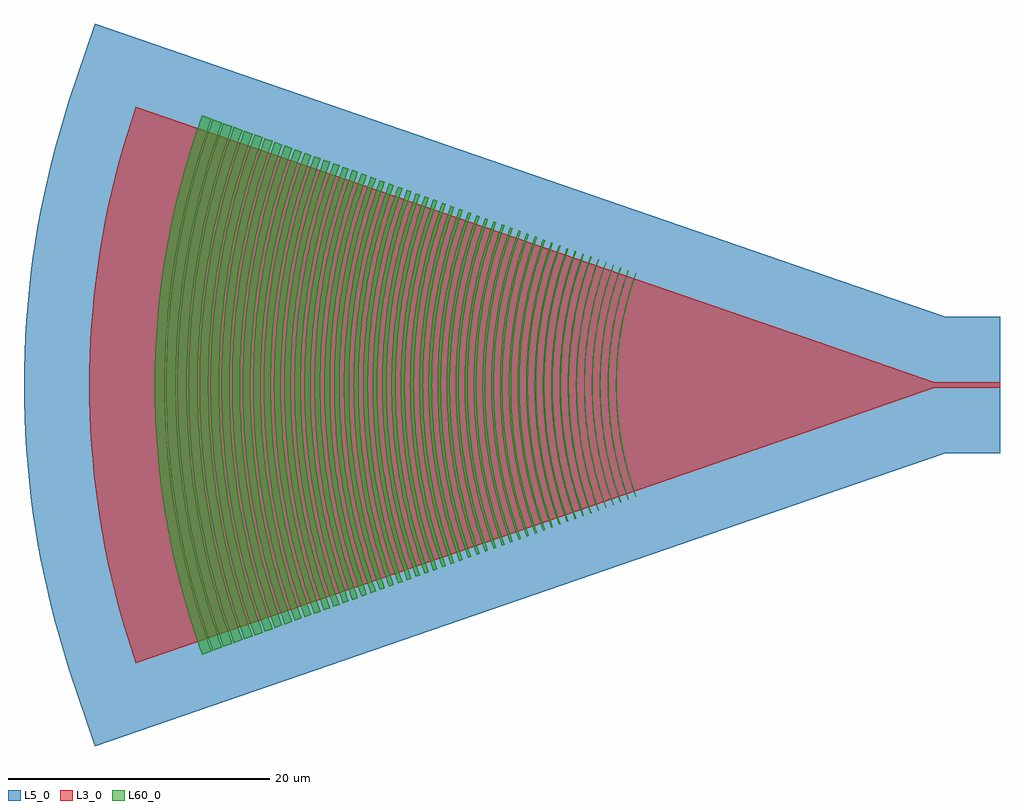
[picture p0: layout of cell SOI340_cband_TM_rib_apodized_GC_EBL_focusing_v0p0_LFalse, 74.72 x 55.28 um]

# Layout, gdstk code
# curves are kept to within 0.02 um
import gdstk
lib = gdstk.Library(unit=1e-6, precision=1e-09)
def P(c, l, *ps):  # polygons
    for p in ps: c.add(gdstk.Polygon(p, *l))
L3_0 = (3, 0)
L5_0 = (5, 0)
L60_0 = (60, 0)

soi340_cband_tm_rib_apod = lib.new_cell('SOI340_cband_TM_rib_apodized_GC_EBL_focusing_v0p0_LFalse')
P(soi340_cband_tm_rib_apod, L3_0, [(-66.159,-21.284),(-67.189,-18.02),(-67.779,-15.815),(-68.292,-13.592),(-68.728,-11.352),(-69.234,-7.967),(-69.472,-5.698),(-69.562,-4.56),(-69.681,-2.282),(-69.721,0),(-69.681,2.282),(-69.562,4.56),(-69.472,5.698),(-69.234,7.967),(-68.728,11.352),(-68.292,13.592),(-67.779,15.815),(-67.189,18.02),(-66.159,21.284),(-5,0.225),(0,0.225),(0,-0.225),(-5,-0.225)])
P(soi340_cband_tm_rib_apod, L5_0, [(-69.259,-27.639),(-69.314,-27.612),(-71.277,-21.747),(-71.996,-19.398),(-72.631,-17.025),(-73.183,-14.633),(-73.428,-13.429),(-73.855,-11.009),(-74.197,-8.576),(-74.336,-7.355),(-74.55,-4.908),(-74.624,-3.682),(-74.678,-2.457),(-74.721,0),(-74.678,2.457),(-74.624,3.682),(-74.55,4.908),(-74.336,7.355),(-74.197,8.576),(-73.855,11.009),(-73.428,13.429),(-73.183,14.633),(-72.631,17.025),(-71.996,19.398),(-71.277,21.747),(-69.314,27.612),(-69.259,27.639),(-4.163,5.225),(0,5.225),(0,-5.225),(-4.163,-5.225)])
P(soi340_cband_tm_rib_apod, L60_0, [(-27.895,-8.571),(-28.042,-8.159),(-28.247,-7.536),(-28.437,-6.908),(-28.553,-6.486),(-28.813,-5.424),(-28.947,-4.781),(-29.026,-4.351),(-29.131,-3.704),(-29.221,-3.054),(-29.312,-2.184),(-29.383,-1.093),(-29.407,0),(-29.383,1.093),(-29.312,2.184),(-29.221,3.054),(-29.131,3.704),(-29.026,4.351),(-28.947,4.781),(-28.813,5.424),(-28.553,6.486),(-28.437,6.908),(-28.247,7.536),(-28.042,8.159),(-27.895,8.571),(-27.839,8.551),(-28.055,7.933),(-28.255,7.309),(-28.438,6.681),(-28.604,6.048),(-28.801,5.198),(-29.004,4.126),(-29.161,3.047),(-29.252,2.179),(-29.323,1.09),(-29.347,0),(-29.323,-1.09),(-29.252,-2.179),(-29.161,-3.047),(-29.004,-4.126),(-28.801,-5.198),(-28.604,-6.048),(-28.438,-6.681),(-28.255,-7.309),(-28.055,-7.933),(-27.839,-8.551)],
  [(-28.48,-8.783),(-28.701,-8.149),(-28.839,-7.722),(-28.971,-7.294),(-29.153,-6.647),(-29.42,-5.558),(-29.513,-5.12),(-29.638,-4.459),(-29.746,-3.796),(-29.808,-3.352),(-29.888,-2.684),(-29.931,-2.238),(-30.004,-1.121),(-30.028,0),(-30.004,1.121),(-29.931,2.238),(-29.888,2.684),(-29.808,3.352),(-29.746,3.796),(-29.638,4.459),(-29.513,5.12),(-29.42,5.558),(-29.153,6.647),(-28.971,7.294),(-28.839,7.722),(-28.701,8.149),(-28.48,8.783),(-28.423,8.763),(-28.644,8.13),(-28.848,7.491),(-29.036,6.847),(-29.207,6.198),(-29.454,5.108),(-29.617,4.229),(-29.749,3.344),(-29.871,2.233),(-29.944,1.118),(-29.968,0),(-29.944,-1.118),(-29.871,-2.233),(-29.749,-3.344),(-29.617,-4.229),(-29.454,-5.108),(-29.207,-6.198),(-29.036,-6.847),(-28.848,-7.491),(-28.644,-8.13),(-28.423,-8.763)],
  [(-29.062,-8.995),(-29.43,-7.909),(-29.629,-7.25),(-29.751,-6.806),(-29.866,-6.363),(-30.024,-5.692),(-30.164,-5.019),(-30.247,-4.567),(-30.423,-3.433),(-30.547,-2.292),(-30.598,-1.606),(-30.622,-1.148),(-30.638,-0.689),(-30.647,0),(-30.638,0.689),(-30.622,1.148),(-30.598,1.606),(-30.547,2.292),(-30.423,3.433),(-30.247,4.567),(-30.164,5.019),(-30.024,5.692),(-29.866,6.363),(-29.751,6.806),(-29.629,7.25),(-29.43,7.909),(-29.062,8.995),(-29.005,8.975),(-29.231,8.326),(-29.44,7.672),(-29.633,7.012),(-29.808,6.348),(-30.014,5.456),(-30.148,4.782),(-30.227,4.331),(-30.332,3.652),(-30.391,3.198),(-30.443,2.743),(-30.506,2.059),(-30.562,1.145),(-30.578,0.687),(-30.587,0),(-30.583,-0.458),(-30.562,-1.145),(-30.506,-2.059),(-30.443,-2.743),(-30.391,-3.198),(-30.332,-3.652),(-30.227,-4.331),(-30.148,-4.782),(-30.014,-5.456),(-29.808,-6.348),(-29.633,-7.012),(-29.44,-7.672),(-29.231,-8.326),(-29.005,-8.975)],
  [(-29.624,-9.2),(-29.782,-8.758),(-30.002,-8.089),(-30.14,-7.64),(-30.33,-6.962),(-30.448,-6.507),(-30.61,-5.822),(-30.753,-5.133),(-30.838,-4.671),(-30.951,-3.976),(-31.047,-3.278),(-31.145,-2.344),(-31.182,-1.876),(-31.221,-1.174),(-31.238,-0.705),(-31.247,0),(-31.238,0.705),(-31.221,1.174),(-31.182,1.876),(-31.145,2.344),(-31.047,3.278),(-30.951,3.976),(-30.838,4.671),(-30.753,5.133),(-30.61,5.822),(-30.448,6.507),(-30.33,6.962),(-30.14,7.64),(-30.002,8.089),(-29.782,8.758),(-29.624,9.2),(-29.568,9.18),(-29.8,8.516),(-30.014,7.847),(-30.211,7.173),(-30.39,6.493),(-30.551,5.809),(-30.648,5.351),(-30.819,4.43),(-30.926,3.735),(-30.987,3.271),(-31.085,2.339),(-31.122,1.872),(-31.161,1.171),(-31.178,0.703),(-31.187,0),(-31.178,-0.703),(-31.161,-1.171),(-31.122,-1.872),(-31.085,-2.339),(-30.987,-3.271),(-30.926,-3.735),(-30.819,-4.43),(-30.648,-5.351),(-30.551,-5.809),(-30.39,-6.493),(-30.211,-7.173),(-30.014,-7.847),(-29.8,-8.516),(-29.568,-9.18)],
  [(-30.187,-9.405),(-30.348,-8.953),(-30.573,-8.269),(-30.781,-7.58),(-30.909,-7.117),(-31.195,-5.952),(-31.341,-5.247),(-31.428,-4.776),(-31.544,-4.065),(-31.61,-3.589),(-31.67,-3.113),(-31.742,-2.396),(-31.795,-1.679),(-31.82,-1.2),(-31.837,-0.72),(-31.846,0),(-31.837,0.72),(-31.82,1.2),(-31.795,1.679),(-31.742,2.396),(-31.67,3.113),(-31.61,3.589),(-31.544,4.065),(-31.428,4.776),(-31.341,5.247),(-31.195,5.952),(-30.909,7.117),(-30.781,7.58),(-30.573,8.269),(-30.348,8.953),(-30.187,9.405),(-30.13,9.384),(-30.367,8.706),(-30.586,8.022),(-30.787,7.332),(-30.97,6.638),(-31.135,5.939),(-31.234,5.47),(-31.409,4.529),(-31.55,3.581),(-31.609,3.106),(-31.681,2.391),(-31.734,1.675),(-31.759,1.197),(-31.776,0.718),(-31.785,0),(-31.776,-0.718),(-31.759,-1.197),(-31.734,-1.675),(-31.681,-2.391),(-31.609,-3.106),(-31.55,-3.581),(-31.409,-4.529),(-31.234,-5.47),(-31.135,-5.939),(-30.97,-6.638),(-30.787,-7.332),(-30.586,-8.022),(-30.367,-8.706),(-30.13,-9.384)],
  [(-30.768,-9.616),(-31.162,-8.455),(-31.505,-7.277),(-31.796,-6.086),(-32.036,-4.883),(-32.222,-3.67),(-32.283,-3.183),(-32.356,-2.45),(-32.436,-1.226),(-32.463,0),(-32.436,1.226),(-32.356,2.45),(-32.283,3.183),(-32.222,3.67),(-32.036,4.883),(-31.796,6.086),(-31.505,7.277),(-31.162,8.455),(-30.768,9.616),(-30.699,9.591),(-30.941,8.898),(-31.165,8.199),(-31.37,7.494),(-31.557,6.784),(-31.827,5.591),(-32.005,4.628),(-32.181,3.418),(-32.304,2.2),(-32.373,0.979),(-32.39,0),(-32.373,-0.979),(-32.304,-2.2),(-32.181,-3.418),(-32.005,-4.628),(-31.827,-5.591),(-31.557,-6.784),(-31.37,-7.494),(-31.165,-8.199),(-30.941,-8.898),(-30.699,-9.591)],
  [(-31.354,-9.83),(-31.757,-8.642),(-32.108,-7.438),(-32.406,-6.22),(-32.651,-4.991),(-32.841,-3.751),(-32.978,-2.504),(-33.06,-1.254),(-33.087,0),(-33.06,1.254),(-32.978,2.504),(-32.841,3.751),(-32.651,4.991),(-32.406,6.22),(-32.108,7.438),(-31.757,8.642),(-31.354,9.83),(-31.274,9.801),(-31.676,8.617),(-32.026,7.416),(-32.21,6.689),(-32.376,5.958),(-32.609,4.729),(-32.788,3.492),(-32.914,2.248),(-32.985,1),(-33.002,0),(-32.985,-1),(-32.914,-2.248),(-32.788,-3.492),(-32.609,-4.729),(-32.376,-5.958),(-32.21,-6.689),(-32.026,-7.416),(-31.676,-8.617),(-31.274,-9.801)],
  [(-31.949,-10.046),(-32.36,-8.833),(-32.719,-7.603),(-33.024,-6.357),(-33.274,-5.101),(-33.469,-3.834),(-33.609,-2.56),(-33.692,-1.281),(-33.72,0),(-33.692,1.281),(-33.609,2.56),(-33.469,3.834),(-33.274,5.101),(-33.024,6.357),(-32.719,7.603),(-32.36,8.833),(-31.949,10.046),(-31.857,10.013),(-32.343,8.559),(-32.69,7.33),(-32.982,6.087),(-33.221,4.832),(-33.372,3.821),(-33.511,2.551),(-33.594,1.277),(-33.622,0),(-33.594,-1.277),(-33.511,-2.551),(-33.372,-3.821),(-33.221,-4.832),(-32.982,-6.087),(-32.69,-7.33),(-32.343,-8.559),(-31.857,-10.013)],
  [(-32.55,-10.264),(-32.97,-9.024),(-33.336,-7.768),(-33.704,-6.24),(-33.903,-5.212),(-34.102,-3.917),(-34.245,-2.616),(-34.331,-1.309),(-34.359,0),(-34.331,1.309),(-34.245,2.616),(-34.102,3.917),(-33.903,5.212),(-33.704,6.24),(-33.336,7.768),(-32.97,9.024),(-32.55,10.264),(-32.448,10.228),(-32.867,8.992),(-33.232,7.74),(-33.598,6.217),(-33.841,4.936),(-34.028,3.644),(-34.159,2.346),(-34.223,1.304),(-34.251,0),(-34.223,-1.304),(-34.159,-2.346),(-34.028,-3.644),(-33.841,-4.936),(-33.598,-6.217),(-33.232,-7.74),(-32.867,-8.992),(-32.448,-10.228)],
  [(-33.15,-10.483),(-33.579,-9.217),(-33.954,-7.933),(-34.271,-6.634),(-34.532,-5.323),(-34.736,-4.001),(-34.882,-2.672),(-34.969,-1.337),(-34.998,0),(-34.969,1.337),(-34.882,2.672),(-34.736,4.001),(-34.532,5.323),(-34.271,6.634),(-33.954,7.933),(-33.579,9.217),(-33.15,10.483),(-33.037,10.442),(-33.465,9.181),(-33.906,7.644),(-34.211,6.348),(-34.459,5.039),(-34.617,3.985),(-34.762,2.661),(-34.849,1.332),(-34.878,0),(-34.849,-1.332),(-34.762,-2.661),(-34.617,-3.985),(-34.459,-5.039),(-34.211,-6.348),(-33.906,-7.644),(-33.465,-9.181),(-33.037,-10.442)],
  [(-33.753,-10.703),(-34.109,-9.67),(-34.574,-8.1),(-34.898,-6.773),(-35.165,-5.434),(-35.372,-4.084),(-35.521,-2.727),(-35.61,-1.365),(-35.64,0),(-35.61,1.365),(-35.521,2.727),(-35.372,4.084),(-35.165,5.434),(-34.898,6.773),(-34.574,8.1),(-34.109,9.67),(-33.753,10.703),(-33.634,10.66),(-34.071,9.372),(-34.452,8.067),(-34.833,6.48),(-35.087,5.144),(-35.282,3.798),(-35.418,2.445),(-35.495,1.088),(-35.514,0),(-35.495,-1.088),(-35.418,-2.445),(-35.282,-3.798),(-35.087,-5.144),(-34.833,-6.48),(-34.452,-8.067),(-34.071,-9.372),(-33.634,-10.66)],
  [(-34.357,-10.923),(-34.805,-9.604),(-35.195,-8.266),(-35.526,-6.912),(-35.798,-5.546),(-36.01,-4.168),(-36.161,-2.783),(-36.253,-1.393),(-36.283,0),(-36.253,1.393),(-36.161,2.783),(-36.01,4.168),(-35.798,5.546),(-35.526,6.912),(-35.195,8.266),(-34.805,9.604),(-34.357,10.923),(-34.227,10.876),(-34.756,9.297),(-35.132,7.962),(-35.507,6.34),(-35.754,4.974),(-35.941,3.6),(-36.047,2.495),(-36.126,1.11),(-36.145,0),(-36.126,-1.11),(-36.047,-2.495),(-35.941,-3.6),(-35.754,-4.974),(-35.507,-6.34),(-35.132,-7.962),(-34.756,-9.297),(-34.227,-10.876)],
  [(-34.973,-11.145),(-35.43,-9.8),(-35.828,-8.436),(-36.165,-7.054),(-36.443,-5.66),(-36.659,-4.254),(-36.814,-2.84),(-36.907,-1.421),(-36.938,0),(-36.907,1.421),(-36.814,2.84),(-36.659,4.254),(-36.443,5.66),(-36.165,7.054),(-35.828,8.436),(-35.43,9.8),(-34.973,11.145),(-34.829,11.094),(-35.368,9.484),(-35.752,8.122),(-36.134,6.467),(-36.386,5.074),(-36.543,3.953),(-36.685,2.545),(-36.754,1.415),(-36.785,0),(-36.754,-1.415),(-36.685,-2.545),(-36.543,-3.953),(-36.386,-5.074),(-36.134,-6.467),(-35.752,-8.122),(-35.368,-9.484),(-34.829,-11.094)],
  [(-35.599,-11.373),(-36.065,-10),(-36.471,-8.608),(-36.816,-7.198),(-37.098,-5.774),(-37.32,-4.341),(-37.477,-2.899),(-37.573,-1.45),(-37.604,0),(-37.573,1.45),(-37.477,2.899),(-37.32,4.341),(-37.098,5.774),(-36.816,7.198),(-36.471,8.608),(-36.065,10),(-35.599,11.373),(-35.439,11.316),(-35.903,9.949),(-36.38,8.284),(-36.77,6.596),(-37.027,5.176),(-37.221,3.746),(-37.332,2.596),(-37.403,1.443),(-37.434,0),(-37.403,-1.443),(-37.332,-2.596),(-37.221,-3.746),(-37.027,-5.176),(-36.77,-6.596),(-36.38,-8.284),(-35.903,-9.949),(-35.439,-11.316)],
  [(-36.233,-11.604),(-36.708,-10.203),(-37.122,-8.782),(-37.474,-7.344),(-37.762,-5.892),(-37.987,-4.428),(-38.149,-2.958),(-38.246,-1.48),(-38.278,0),(-38.246,1.48),(-38.149,2.958),(-37.987,4.428),(-37.762,5.892),(-37.474,7.344),(-37.122,8.782),(-36.708,10.203),(-36.233,11.604),(-36.063,11.544),(-36.536,10.149),(-37.023,8.451),(-37.42,6.729),(-37.682,5.28),(-37.881,3.821),(-37.994,2.648),(-38.066,1.472),(-38.098,0),(-38.066,-1.472),(-37.994,-2.648),(-37.881,-3.821),(-37.682,-5.28),(-37.42,-6.729),(-37.023,-8.451),(-36.536,-10.149),(-36.063,-11.544)],
  [(-36.856,-11.832),(-37.34,-10.403),(-37.764,-8.954),(-38.122,-7.487),(-38.416,-6.007),(-38.646,-4.515),(-38.81,-3.015),(-38.909,-1.509),(-38.942,0),(-38.909,1.509),(-38.81,3.015),(-38.646,4.515),(-38.416,6.007),(-38.122,7.487),(-37.764,8.954),(-37.34,10.403),(-36.856,11.832),(-36.681,11.769),(-37.163,10.347),(-37.66,8.615),(-38.004,7.154),(-38.332,5.383),(-38.5,4.193),(-38.65,2.7),(-38.735,1.201),(-38.756,0),(-38.735,-1.201),(-38.65,-2.7),(-38.5,-4.193),(-38.332,-5.383),(-38.004,-7.154),(-37.66,-8.615),(-37.163,-10.347),(-36.681,-11.769)],
  [(-37.494,-12.064),(-37.988,-10.607),(-38.419,-9.129),(-38.785,-7.635),(-39.085,-6.125),(-39.319,-4.604),(-39.487,-3.074),(-39.588,-1.539),(-39.621,0),(-39.588,1.539),(-39.487,3.074),(-39.319,4.604),(-39.085,6.125),(-38.785,7.635),(-38.419,9.129),(-37.988,10.607),(-37.494,12.064),(-37.3,11.994),(-37.883,10.253),(-38.298,8.78),(-38.649,7.291),(-38.983,5.486),(-39.154,4.274),(-39.307,2.751),(-39.382,1.53),(-39.415,0),(-39.382,-1.53),(-39.307,-2.751),(-39.154,-4.274),(-38.983,-5.486),(-38.649,-7.291),(-38.298,-8.78),(-37.883,-10.253),(-37.3,-11.994)],
  [(-38.132,-12.295),(-38.635,-10.811),(-39.074,-9.305),(-39.447,-7.781),(-39.753,-6.243),(-39.991,-4.693),(-40.162,-3.134),(-40.265,-1.568),(-40.299,0),(-40.265,1.568),(-40.162,3.134),(-39.991,4.693),(-39.753,6.243),(-39.447,7.781),(-39.074,9.305),(-38.635,10.811),(-38.132,12.295),(-37.931,12.223),(-38.432,10.747),(-38.948,8.948),(-39.369,7.125),(-39.646,5.591),(-39.82,4.355),(-39.976,2.804),(-40.052,1.559),(-40.086,0),(-40.052,-1.559),(-39.976,-2.804),(-39.82,-4.355),(-39.646,-5.591),(-39.369,-7.125),(-38.948,-8.948),(-38.432,-10.747),(-37.931,-12.223)],
  [(-38.775,-12.53),(-39.289,-11.017),(-39.735,-9.482),(-40.116,-7.93),(-40.428,-6.363),(-40.67,-4.783),(-40.844,-3.193),(-40.949,-1.598),(-40.984,0),(-40.949,1.598),(-40.844,3.193),(-40.67,4.783),(-40.428,6.363),(-40.116,7.93),(-39.735,9.482),(-39.289,11.017),(-38.775,12.53),(-38.562,12.453),(-39.073,10.949),(-39.598,9.117),(-40.027,7.259),(-40.31,5.696),(-40.487,4.437),(-40.646,2.857),(-40.736,1.271),(-40.758,0),(-40.736,-1.271),(-40.646,-2.857),(-40.487,-4.437),(-40.31,-5.696),(-40.027,-7.259),(-39.598,-9.117),(-39.073,-10.949),(-38.562,-12.453)],
  [(-39.423,-12.766),(-39.946,-11.224),(-40.402,-9.661),(-40.789,-8.08),(-41.107,-6.481),(-41.355,-4.872),(-41.532,-3.254),(-41.639,-1.628),(-41.674,0),(-41.639,1.628),(-41.532,3.254),(-41.355,4.872),(-41.107,6.481),(-40.789,8.08),(-40.402,9.661),(-39.946,11.224),(-39.423,12.766),(-39.199,12.685),(-39.719,11.153),(-40.255,9.286),(-40.626,7.711),(-40.979,5.802),(-41.16,4.52),(-41.322,2.91),(-41.401,1.618),(-41.436,0),(-41.401,-1.618),(-41.322,-2.91),(-41.16,-4.52),(-40.979,-5.802),(-40.626,-7.711),(-40.255,-9.286),(-39.815,-10.844),(-39.199,-12.685)],
  [(-40.074,-13.003),(-40.607,-11.433),(-41.071,-9.841),(-41.466,-8.229),(-41.789,-6.602),(-42.042,-4.963),(-42.222,-3.314),(-42.331,-1.659),(-42.367,0),(-42.331,1.659),(-42.222,3.314),(-42.042,4.963),(-41.789,6.602),(-41.466,8.229),(-41.071,9.841),(-40.607,11.433),(-40.074,13.003),(-39.839,12.918),(-40.467,11.043),(-40.914,9.457),(-41.292,7.853),(-41.652,5.909),(-41.874,4.276),(-42.001,2.963),(-42.094,1.318),(-42.117,0),(-42.094,-1.318),(-42.001,-2.963),(-41.874,-4.276),(-41.652,-5.909),(-41.292,-7.853),(-40.914,-9.457),(-40.467,-11.043),(-39.839,-12.918)],
  [(-40.728,-13.24),(-41.27,-11.642),(-41.743,-10.02),(-42.145,-8.38),(-42.474,-6.723),(-42.731,-5.053),(-42.915,-3.374),(-43.025,-1.689),(-43.062,0),(-43.025,1.689),(-42.915,3.374),(-42.731,5.053),(-42.474,6.723),(-42.145,8.38),(-41.743,10.02),(-41.27,11.642),(-40.728,13.24),(-40.48,13.151),(-41.119,11.242),(-41.574,9.628),(-41.959,7.995),(-42.326,6.015),(-42.552,4.353),(-42.68,3.017),(-42.776,1.342),(-42.799,0),(-42.776,-1.342),(-42.68,-3.017),(-42.552,-4.353),(-42.326,-6.015),(-41.959,-7.995),(-41.574,-9.628),(-41.119,-11.242),(-40.48,-13.151)],
  [(-41.386,-13.479),(-41.938,-11.852),(-42.419,-10.201),(-42.827,-8.531),(-43.163,-6.844),(-43.425,-5.145),(-43.612,-3.435),(-43.725,-1.719),(-43.762,0),(-43.725,1.719),(-43.612,3.435),(-43.425,5.145),(-43.163,6.844),(-42.827,8.531),(-42.419,10.201),(-41.938,11.852),(-41.386,13.479),(-41.126,13.386),(-41.675,11.769),(-42.239,9.8),(-42.631,8.137),(-43.004,6.123),(-43.194,4.77),(-43.365,3.071),(-43.449,1.707),(-43.486,0),(-43.449,-1.707),(-43.365,-3.071),(-43.194,-4.77),(-43.004,-6.123),(-42.631,-8.137),(-42.239,-9.8),(-41.675,-11.769),(-41.126,-13.386)],
  [(-42.046,-13.719),(-42.609,-12.064),(-43.098,-10.384),(-43.514,-8.684),(-43.856,-6.966),(-44.122,-5.237),(-44.312,-3.496),(-44.427,-1.75),(-44.465,0),(-44.427,1.75),(-44.312,3.496),(-44.122,5.237),(-43.856,6.966),(-43.514,8.684),(-43.098,10.384),(-42.609,12.064),(-42.046,13.719),(-41.774,13.622),(-42.333,11.977),(-42.907,9.972),(-43.306,8.281),(-43.686,6.231),(-43.92,4.509),(-44.053,3.125),(-44.152,1.39),(-44.176,0),(-44.152,-1.39),(-44.053,-3.125),(-43.92,-4.509),(-43.686,-6.231),(-43.306,-8.281),(-42.907,-9.972),(-42.333,-11.977),(-41.774,-13.622)],
  [(-42.709,-13.962),(-43.282,-12.275),(-43.78,-10.566),(-44.203,-8.836),(-44.55,-7.089),(-44.821,-5.328),(-45.016,-3.558),(-45.132,-1.781),(-45.171,0),(-45.132,1.781),(-45.016,3.558),(-44.821,5.328),(-44.55,7.089),(-44.203,8.836),(-43.78,10.566),(-43.282,12.275),(-42.709,13.962),(-42.425,13.859),(-42.994,12.185),(-43.578,10.146),(-44.056,8.079),(-44.424,5.99),(-44.609,4.587),(-44.744,3.179),(-44.844,1.414),(-44.869,0),(-44.844,-1.414),(-44.744,-3.179),(-44.609,-4.587),(-44.424,-5.99),(-44.056,-8.079),(-43.578,-10.146),(-42.994,-12.185),(-42.425,-13.859)],
  [(-43.376,-14.204),(-43.958,-12.489),(-44.466,-10.75),(-44.897,-8.989),(-45.25,-7.212),(-45.525,-5.421),(-45.723,-3.62),(-45.842,-1.812),(-45.881,0),(-45.842,1.812),(-45.723,3.62),(-45.525,5.421),(-45.25,7.212),(-44.897,8.989),(-44.466,10.75),(-43.958,12.489),(-43.376,14.204),(-43.079,14.097),(-43.764,12.051),(-44.252,10.32),(-44.738,8.218),(-45.058,6.448),(-45.258,5.023),(-45.438,3.234),(-45.526,1.798),(-45.565,0),(-45.526,-1.798),(-45.438,-3.234),(-45.258,-5.023),(-45.058,-6.448),(-44.738,-8.218),(-44.252,-10.32),(-43.764,-12.051),(-43.079,-14.097)],
  [(-44.046,-14.448),(-44.639,-12.704),(-45.155,-10.935),(-45.592,-9.143),(-45.952,-7.336),(-46.232,-5.514),(-46.433,-3.682),(-46.554,-1.842),(-46.594,0),(-46.554,1.842),(-46.433,3.682),(-46.232,5.514),(-45.952,7.336),(-45.592,9.143),(-45.155,10.935),(-44.639,12.704),(-44.046,14.448),(-43.736,14.336),(-44.432,12.255),(-45.019,10.141),(-45.423,8.357),(-45.804,6.196),(-45.995,4.745),(-46.135,3.289),(-46.224,1.828),(-46.264,0),(-46.224,-1.828),(-46.135,-3.289),(-45.995,-4.745),(-45.804,-6.196),(-45.423,-8.357),(-45.019,-10.141),(-44.432,-12.255),(-43.736,-14.336)],
  [(-44.722,-14.693),(-45.323,-12.92),(-45.848,-11.12),(-46.294,-9.3),(-46.66,-7.461),(-46.944,-5.608),(-47.149,-3.745),(-47.271,-1.874),(-47.312,0),(-47.271,1.874),(-47.149,3.745),(-46.944,5.608),(-46.66,7.461),(-46.294,9.3),(-45.848,11.12),(-45.323,12.92),(-44.722,14.693),(-44.397,14.577),(-45.105,12.461),(-45.701,10.311),(-46.184,8.132),(-46.499,6.3),(-46.693,4.825),(-46.836,3.344),(-46.941,1.487),(-46.967,0),(-46.941,-1.487),(-46.836,-3.344),(-46.693,-4.825),(-46.499,-6.3),(-46.184,-8.132),(-45.701,-10.311),(-45.105,-12.461),(-44.397,-14.577)],
  [(-45.401,-14.941),(-46.013,-13.138),(-46.547,-11.307),(-47,-9.456),(-47.371,-7.587),(-47.661,-5.702),(-47.869,-3.807),(-47.994,-1.906),(-48.035,0),(-47.994,1.906),(-47.869,3.807),(-47.661,5.702),(-47.371,7.587),(-47,9.456),(-46.547,11.307),(-46.013,13.138),(-45.401,14.941),(-45.062,14.819),(-45.782,12.668),(-46.388,10.482),(-46.879,8.267),(-47.199,6.404),(-47.396,4.905),(-47.541,3.399),(-47.649,1.512),(-47.675,0),(-47.649,-1.512),(-47.541,-3.399),(-47.396,-4.905),(-47.199,-6.404),(-46.879,-8.267),(-46.388,-10.482),(-45.782,-12.668),(-45.062,-14.819)],
  [(-46.085,-15.19),(-46.708,-13.356),(-47.249,-11.496),(-47.71,-9.614),(-48.088,-7.713),(-48.383,-5.798),(-48.594,-3.871),(-48.721,-1.937),(-48.763,0),(-48.721,1.937),(-48.594,3.871),(-48.383,5.798),(-48.088,7.713),(-47.71,9.614),(-47.249,11.496),(-46.708,13.356),(-46.085,15.19),(-45.732,15.063),(-46.464,12.876),(-47.08,10.654),(-47.579,8.403),(-47.904,6.51),(-48.147,4.604),(-48.281,3.072),(-48.361,1.537),(-48.388,0),(-48.361,-1.537),(-48.281,-3.072),(-48.147,-4.604),(-47.904,-6.51),(-47.579,-8.403),(-47.08,-10.654),(-46.464,-12.876),(-45.732,-15.063)],
  [(-46.775,-15.44),(-47.407,-13.577),(-47.959,-11.685),(-48.427,-9.773),(-48.811,-7.84),(-49.111,-5.893),(-49.326,-3.935),(-49.454,-1.969),(-49.497,0),(-49.454,1.969),(-49.326,3.935),(-49.111,5.893),(-48.811,7.84),(-48.427,9.773),(-47.959,11.685),(-47.407,13.577),(-46.775,15.44),(-46.407,15.308),(-47.15,13.086),(-47.68,11.207),(-48.207,8.924),(-48.614,6.616),(-48.818,5.067),(-48.968,3.512),(-49.079,1.562),(-49.106,0),(-49.079,-1.562),(-48.968,-3.512),(-48.818,-5.067),(-48.614,-6.616),(-48.207,-8.924),(-47.68,-11.207),(-47.15,-13.086),(-46.407,-15.308)],
  [(-47.47,-15.694),(-48.113,-13.8),(-48.673,-11.877),(-49.149,-9.932),(-49.54,-7.969),(-49.844,-5.99),(-50.062,-3.999),(-50.194,-2.001),(-50.237,0),(-50.194,2.001),(-50.062,3.999),(-49.844,5.99),(-49.54,7.969),(-49.149,9.932),(-48.673,11.877),(-48.113,13.8),(-47.47,15.694),(-47.087,15.556),(-47.843,13.298),(-48.479,11.003),(-48.917,9.068),(-49.33,6.723),(-49.538,5.149),(-49.69,3.569),(-49.787,1.984),(-49.83,0),(-49.787,-1.984),(-49.69,-3.569),(-49.538,-5.149),(-49.33,-6.723),(-48.917,-9.068),(-48.479,-11.003),(-47.843,-13.298),(-47.087,-15.556)],
  [(-48.171,-15.948),(-48.824,-14.024),(-49.394,-12.071),(-49.878,-10.094),(-50.275,-8.099),(-50.584,-6.088),(-50.805,-4.065),(-50.939,-2.034),(-50.983,0),(-50.939,2.034),(-50.805,4.065),(-50.584,6.088),(-50.275,8.099),(-49.878,10.094),(-49.394,12.071),(-48.824,14.024),(-48.171,15.948),(-47.772,15.805),(-48.54,13.511),(-49.087,11.571),(-49.631,9.213),(-50.051,6.831),(-50.262,5.231),(-50.417,3.626),(-50.531,1.613),(-50.559,0),(-50.531,-1.613),(-50.417,-3.626),(-50.262,-5.231),(-50.051,-6.831),(-49.631,-9.213),(-49.087,-11.571),(-48.54,-13.511),(-47.772,-15.805)],
  [(-48.877,-16.205),(-49.541,-14.25),(-50.119,-12.265),(-50.611,-10.256),(-51.014,-8.228),(-51.328,-6.185),(-51.553,-4.13),(-51.689,-2.067),(-51.734,0),(-51.689,2.067),(-51.553,4.13),(-51.328,6.185),(-51.014,8.228),(-50.611,10.256),(-50.119,12.265),(-49.541,14.25),(-48.877,16.205),(-48.463,16.057),(-49.243,13.726),(-49.799,11.755),(-50.352,9.36),(-50.778,6.939),(-51.037,4.907),(-51.18,3.275),(-51.265,1.638),(-51.294,0),(-51.265,-1.638),(-51.18,-3.275),(-51.037,-4.907),(-50.778,-6.939),(-50.352,-9.36),(-49.799,-11.755),(-49.243,-13.726),(-48.463,-16.057)],
  [(-49.589,-16.465),(-50.264,-14.478),(-50.851,-12.46),(-51.351,-10.42),(-51.761,-8.361),(-52.08,-6.284),(-52.309,-4.196),(-52.447,-2.1),(-52.492,0),(-52.447,2.1),(-52.309,4.196),(-52.08,6.284),(-51.761,8.361),(-51.351,10.42),(-50.851,12.46),(-50.264,14.478),(-49.589,16.465),(-49.158,16.31),(-49.827,14.34),(-50.515,11.94),(-51.077,9.507),(-51.51,7.049),(-51.773,4.985),(-51.918,3.326),(-52.005,1.664),(-52.034,0),(-52.005,-1.664),(-51.918,-3.326),(-51.773,-4.985),(-51.51,-7.049),(-51.077,-9.507),(-50.515,-11.94),(-49.827,-14.34),(-49.158,-16.31)],
  [(-50.306,-16.726),(-50.991,-14.707),(-51.589,-12.658),(-52.096,-10.586),(-52.512,-8.493),(-52.837,-6.384),(-53.069,-4.263),(-53.209,-2.133),(-53.255,0),(-53.209,2.133),(-53.069,4.263),(-52.837,6.384),(-52.512,8.493),(-52.096,10.586),(-51.589,12.658),(-50.991,14.707),(-50.306,16.726),(-49.859,16.565),(-50.664,14.16),(-51.237,12.127),(-51.808,9.656),(-52.248,7.159),(-52.469,5.483),(-52.631,3.8),(-52.734,2.113),(-52.78,0),(-52.734,-2.113),(-52.631,-3.8),(-52.469,-5.483),(-52.248,-7.159),(-51.808,-9.656),(-51.237,-12.127),(-50.664,-14.16),(-49.859,-16.565)],
  [(-51.03,-16.989),(-51.726,-14.938),(-52.332,-12.858),(-52.847,-10.752),(-53.271,-8.627),(-53.6,-6.484),(-53.836,-4.33),(-53.978,-2.166),(-54.025,0),(-53.978,2.166),(-53.836,4.33),(-53.6,6.484),(-53.271,8.627),(-52.847,10.752),(-52.332,12.858),(-51.726,14.938),(-51.03,16.989),(-50.565,16.822),(-51.382,14.38),(-52.07,11.899),(-52.544,9.806),(-52.991,7.27),(-53.262,5.141),(-53.411,3.431),(-53.501,1.716),(-53.531,0),(-53.501,-1.716),(-53.411,-3.431),(-53.262,-5.141),(-52.991,-7.27),(-52.544,-9.806),(-52.07,-11.899),(-51.382,-14.38),(-50.565,-16.822)],
  [(-51.76,-17.254),(-52.466,-15.172),(-53.083,-13.058),(-53.606,-10.921),(-54.035,-8.762),(-54.371,-6.586),(-54.61,-4.398),(-54.754,-2.2),(-54.802,0),(-54.754,2.2),(-54.61,4.398),(-54.371,6.586),(-54.035,8.762),(-53.606,10.921),(-53.083,13.058),(-52.466,15.172),(-51.76,17.254),(-51.278,17.082),(-52.108,14.602),(-52.699,12.505),(-53.287,9.957),(-53.741,7.382),(-53.969,5.654),(-54.136,3.918),(-54.26,1.743),(-54.29,0),(-54.26,-1.743),(-54.136,-3.918),(-53.969,-5.654),(-53.741,-7.382),(-53.287,-9.957),(-52.699,-12.505),(-52.108,-14.602),(-51.278,-17.082)],
  [(-52.497,-17.523),(-53.214,-15.408),(-53.84,-13.262),(-54.371,-11.09),(-54.808,-8.898),(-55.147,-6.688),(-55.391,-4.465),(-55.538,-2.235),(-55.586,0),(-55.538,2.235),(-55.391,4.465),(-55.147,6.688),(-54.808,8.898),(-54.371,11.09),(-53.84,13.262),(-53.214,15.408),(-52.497,17.523),(-51.996,17.343),(-52.838,14.825),(-53.548,12.267),(-54.122,9.675),(-54.561,7.057),(-54.776,5.3),(-54.93,3.537),(-55.023,1.77),(-55.054,0),(-55.023,-1.77),(-54.93,-3.537),(-54.776,-5.3),(-54.561,-7.057),(-54.122,-9.675),(-53.548,-12.267),(-52.838,-14.825),(-51.996,-17.343)],
  [(-53.24,-17.793),(-53.968,-15.646),(-54.604,-13.466),(-55.144,-11.261),(-55.587,-9.035),(-55.932,-6.791),(-56.179,-4.535),(-56.327,-2.27),(-56.377,0),(-56.327,2.27),(-56.179,4.535),(-55.932,6.791),(-55.587,9.035),(-55.144,11.261),(-54.604,13.466),(-53.968,15.646),(-53.24,17.793),(-52.721,17.607),(-53.443,15.48),(-54.072,13.324),(-54.606,11.142),(-55.044,8.939),(-55.386,6.719),(-55.63,4.487),(-55.777,2.245),(-55.826,0),(-55.777,-2.245),(-55.63,-4.487),(-55.386,-6.719),(-55.044,-8.939),(-54.606,-11.142),(-54.072,-13.324),(-53.443,-15.48),(-52.721,-17.607)],
  [(-53.99,-18.066),(-54.729,-15.886),(-55.375,-13.673),(-55.923,-11.433),(-56.372,-9.173),(-56.723,-6.896),(-56.974,-4.604),(-57.124,-2.304),(-57.175,0),(-57.124,2.304),(-56.974,4.604),(-56.723,6.896),(-56.372,9.173),(-55.923,11.433),(-55.375,13.673),(-54.729,15.886),(-53.99,18.066),(-53.453,17.873),(-54.185,15.714),(-54.823,13.525),(-55.365,11.31),(-55.81,9.074),(-56.157,6.821),(-56.405,4.554),(-56.554,2.279),(-56.604,0),(-56.554,-2.279),(-56.405,-4.554),(-56.157,-6.821),(-55.81,-9.074),(-55.365,-11.31),(-54.823,-13.525),(-54.185,-15.714),(-53.453,-17.873)],
  [(-54.747,-18.342),(-55.499,-16.128),(-56.154,-13.881),(-56.71,-11.608),(-57.166,-9.314),(-57.522,-7),(-57.777,-4.674),(-57.93,-2.34),(-57.981,0),(-57.93,2.34),(-57.777,4.674),(-57.522,7),(-57.166,9.314),(-56.71,11.608),(-56.154,13.881),(-55.499,16.128),(-54.747,18.342),(-54.19,18.141),(-54.934,15.95),(-55.582,13.728),(-56.132,11.48),(-56.583,9.211),(-56.935,6.923),(-57.187,4.623),(-57.339,2.314),(-57.389,0),(-57.339,-2.314),(-57.187,-4.623),(-56.935,-6.923),(-56.583,-9.211),(-56.132,-11.48),(-55.582,-13.728),(-54.934,-15.95),(-54.19,-18.141)],
  [(-55.511,-18.619),(-56.274,-16.373),(-56.939,-14.091),(-57.503,-11.785),(-57.967,-9.454),(-58.328,-7.107),(-58.587,-4.745),(-58.742,-2.375),(-58.794,0),(-58.742,2.375),(-58.587,4.745),(-58.328,7.107),(-57.967,9.454),(-57.503,11.785),(-56.939,14.091),(-56.274,16.373),(-55.511,18.619),(-54.934,18.412),(-55.689,16.188),(-56.347,13.933),(-56.905,11.652),(-57.363,9.348),(-57.72,7.027),(-57.976,4.692),(-58.13,2.348),(-58.181,0),(-58.13,-2.348),(-57.976,-4.692),(-57.72,-7.027),(-57.363,-9.348),(-56.905,-11.652),(-56.347,-13.933),(-55.689,-16.188),(-54.934,-18.412)],
  [(-56.283,-18.9),(-57.057,-16.619),(-57.731,-14.304),(-58.305,-11.962),(-58.775,-9.598),(-59.143,-7.214),(-59.405,-4.818),(-59.562,-2.411),(-59.615,0),(-59.562,2.411),(-59.405,4.818),(-59.143,7.214),(-58.775,9.598),(-58.305,11.962),(-57.731,14.304),(-57.057,16.619),(-56.283,18.9),(-55.685,18.686),(-56.451,16.428),(-57.118,14.14),(-57.685,11.825),(-58.15,9.487),(-58.513,7.131),(-58.772,4.762),(-58.928,2.383),(-58.98,0),(-58.928,-2.383),(-58.772,-4.762),(-58.513,-7.131),(-58.15,-9.487),(-57.685,-11.825),(-57.118,-14.14),(-56.451,-16.428),(-55.685,-18.686)],
  [(-57.064,-19.183),(-57.849,-16.869),(-58.534,-14.519),(-59.115,-12.142),(-59.593,-9.741),(-59.965,-7.322),(-60.232,-4.889),(-60.391,-2.447),(-60.445,0),(-60.391,2.447),(-60.232,4.889),(-59.965,7.322),(-59.593,9.741),(-59.115,12.142),(-58.534,14.519),(-57.849,16.869),(-57.064,19.183),(-56.444,18.962),(-57.221,16.671),(-57.898,14.349),(-58.473,11.999),(-58.945,9.627),(-59.313,7.236),(-59.576,4.832),(-59.734,2.418),(-59.787,0),(-59.734,-2.418),(-59.576,-4.832),(-59.313,-7.236),(-58.945,-9.627),(-58.473,-11.999),(-57.898,-14.349),(-57.221,-16.671),(-56.444,-18.962)],
  [(-57.85,-19.47),(-58.648,-17.121),(-59.343,-14.736),(-59.934,-12.324),(-60.418,-9.887),(-60.796,-7.432),(-61.066,-4.963),(-61.228,-2.484),(-61.283,0),(-61.228,2.484),(-61.066,4.963),(-60.796,7.432),(-60.418,9.887),(-59.934,12.324),(-59.343,14.736),(-58.648,17.121),(-57.85,19.47),(-57.209,19.24),(-57.998,16.916),(-58.685,14.56),(-59.269,12.176),(-59.747,9.769),(-60.121,7.343),(-60.388,4.903),(-60.548,2.454),(-60.602,0),(-60.548,-2.454),(-60.388,-4.903),(-60.121,-7.343),(-59.747,-9.769),(-59.269,-12.176),(-58.685,-14.56),(-57.998,-16.916),(-57.209,-19.24)],
  [(-58.645,-19.759),(-59.453,-17.375),(-60.159,-14.955),(-60.758,-12.507),(-61.25,-10.033),(-61.634,-7.542),(-61.908,-5.036),(-62.073,-2.52),(-62.128,0),(-62.073,2.52),(-61.908,5.036),(-61.634,7.542),(-61.25,10.033),(-60.758,12.507),(-60.159,14.955),(-59.453,17.375),(-58.645,19.759),(-57.982,19.521),(-58.782,17.163),(-59.479,14.773),(-60.071,12.354),(-60.557,9.911),(-60.936,7.45),(-61.207,4.975),(-61.37,2.49),(-61.424,0),(-61.37,-2.49),(-61.207,-4.975),(-60.936,-7.45),(-60.557,-9.911),(-60.071,-12.354),(-59.479,-14.773),(-58.782,-17.163),(-57.982,-19.521)],
  [(-59.448,-20.052),(-60.269,-17.632),(-60.985,-15.176),(-61.593,-12.691),(-62.092,-10.182),(-62.482,-7.653),(-62.76,-5.11),(-62.927,-2.558),(-62.983,0),(-62.927,2.558),(-62.76,5.11),(-62.482,7.653),(-62.092,10.182),(-61.593,12.691),(-60.985,15.176),(-60.269,17.632),(-59.448,20.052),(-58.762,19.805),(-59.574,17.413),(-60.281,14.987),(-60.881,12.533),(-61.374,10.055),(-61.759,7.558),(-62.034,5.047),(-62.199,2.526),(-62.254,0),(-62.199,-2.526),(-62.034,-5.047),(-61.759,-7.558),(-61.374,-10.055),(-60.881,-12.533),(-60.281,-14.987),(-59.574,-17.413),(-58.762,-19.805)],
  [(-60.26,-20.347),(-61.093,-17.891),(-61.819,-15.401),(-62.436,-12.878),(-62.944,-10.332),(-63.338,-7.766),(-63.62,-5.185),(-63.79,-2.595),(-63.847,0),(-63.79,2.595),(-63.62,5.185),(-63.338,7.766),(-62.944,10.332),(-62.436,12.878),(-61.819,15.401),(-61.093,17.891),(-60.26,20.347),(-59.55,20.092),(-60.374,17.665),(-61.091,15.205),(-61.7,12.715),(-62.201,10.201),(-62.59,7.668),(-62.869,5.12),(-63.037,2.562),(-63.093,0),(-63.037,-2.562),(-62.869,-5.12),(-62.59,-7.668),(-62.201,-10.201),(-61.7,-12.715),(-61.091,-15.205),(-60.374,-17.665),(-59.55,-20.092)],
  [(-61.081,-20.646),(-61.927,-18.155),(-62.663,-15.626),(-63.29,-13.067),(-63.804,-10.484),(-64.204,-7.88),(-64.491,-5.262),(-64.663,-2.634),(-64.721,0),(-64.663,2.634),(-64.491,5.262),(-64.204,7.88),(-63.804,10.484),(-63.29,13.067),(-62.663,15.626),(-61.927,18.155),(-61.081,20.646),(-60.346,20.382),(-61.182,17.92),(-61.909,15.424),(-62.527,12.898),(-63.035,10.348),(-63.43,7.778),(-63.713,5.194),(-63.883,2.599),(-63.94,0),(-63.883,-2.599),(-63.713,-5.194),(-63.43,-7.778),(-63.035,-10.348),(-62.527,-12.898),(-61.909,-15.424),(-61.182,-17.92),(-60.346,-20.382)])

lib.write_gds('SOI340_cband_TM_rib_apodized_GC_EBL_focusing_v0p0_LFalse.gds')
